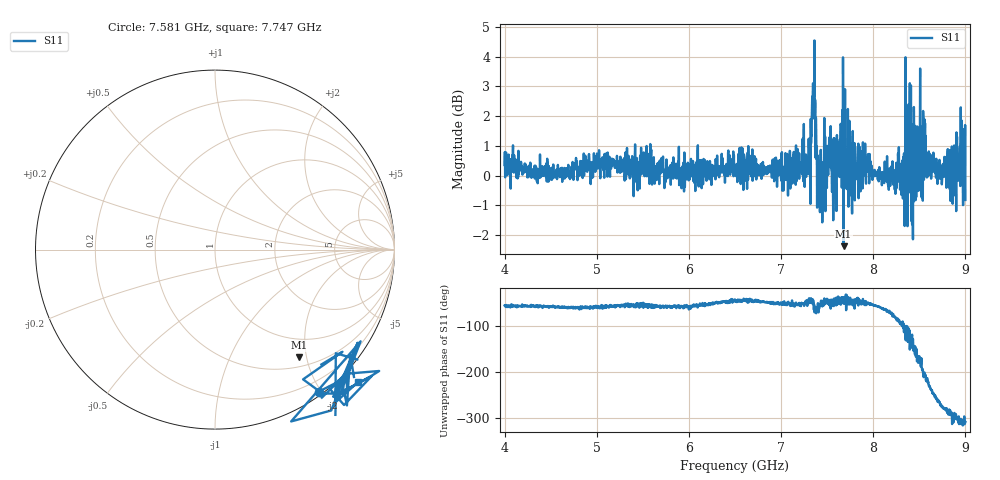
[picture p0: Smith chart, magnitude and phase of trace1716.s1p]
! Created with skrf 1.8.0 (http://scikit-rf.org).
# Hz S RI R 50.0
!freq ReS11 ImS11
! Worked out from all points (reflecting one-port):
!   1601 points, 4 GHz to 9 GHz, reference 50 ohm
!   lowest |S11| = -2.4 dB at 7.678 GHz (marker M1), VSWR 7.37, Z = 32.8 - j93.5 ohm
!   phase of S11 starts at -56 deg and turns -253 deg over the sweep
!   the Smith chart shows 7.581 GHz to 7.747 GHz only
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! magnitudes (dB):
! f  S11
! 4 GHz  0.4
! 4.625 GHz  -0.2
! 5.25 GHz  0.4
! 5.875 GHz  0.1
! 6.5 GHz  0.3
! 7.125 GHz  0.0
! 7.294 GHz  0.3
! 7.347 GHz  3.1
! 7.369 GHz  2.5
! 7.4 GHz  -0.5
! 7.422 GHz  -1.2
! 7.512 GHz  0.0
! 7.591 GHz  0.7
! 7.647 GHz  1.7
! 7.678 GHz  -2.4
! 7.75 GHz  -0.7
! 7.775 GHz  0.9
! 7.891 GHz  0.0
! 8.316 GHz  0.2
! 8.341 GHz  -1.7
! 8.375 GHz  -0.1
! 8.425 GHz  -0.3
! 8.522 GHz  1.6
! 8.606 GHz  0.4
! 8.722 GHz  -0.1
! 8.875 GHz  0.4
! 8.956 GHz  0.0
! 9 GHz  -0.8
